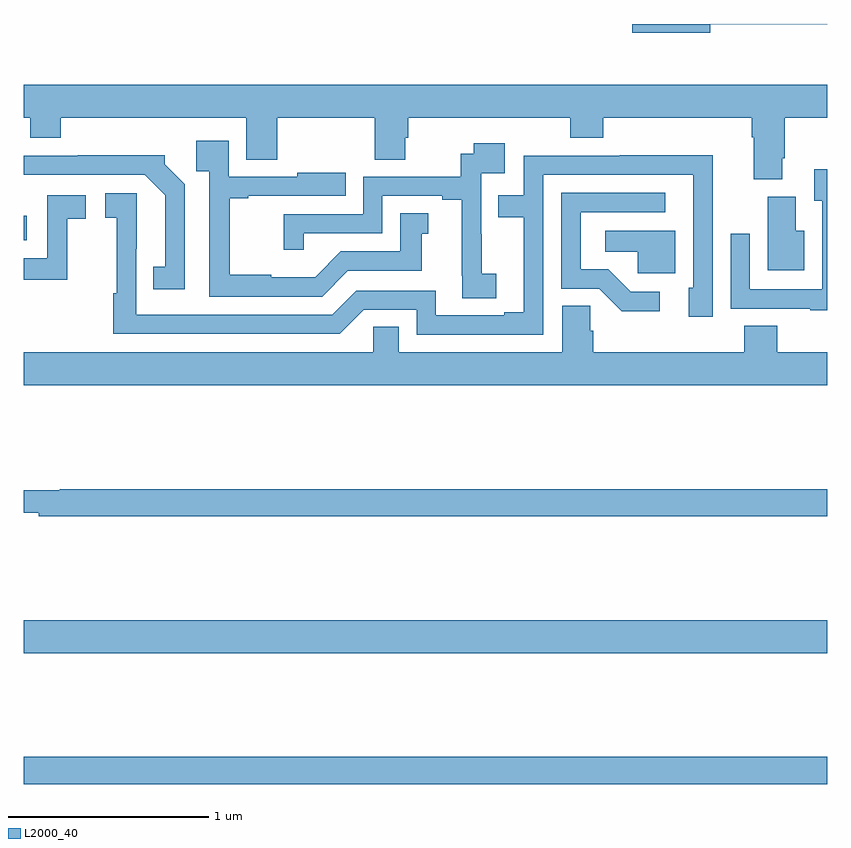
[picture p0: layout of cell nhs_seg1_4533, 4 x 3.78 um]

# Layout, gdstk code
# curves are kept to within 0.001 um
import gdstk
lib = gdstk.Library(unit=1e-6, precision=1e-09)
def R(c, l, rs):  # rectangles x0, y0, x1, y1
    for r in rs: c.add(gdstk.rectangle(r[:2], r[2:], *l))
def P(c, l, *ps):  # polygons
    for p in ps: c.add(gdstk.Polygon(p, *l))
L2000_40 = (2000, 40)

nhs_seg1_4533 = lib.new_cell('nhs_seg1_4533')
R(nhs_seg1_4533, L2000_40, [(357,548.416,361,548.552), (357,549.068,361,549.232), (357,551.123,357.016,551.245)])
P(nhs_seg1_4533, L2000_40, [(360.418,552.198),(361,552.198),(361,552.199),(360.03,552.199),(360.03,552.155),(360.418,552.155)],
  [(357,551.732),(357.032,551.732),(357.032,551.633),(357.185,551.633),(357.185,551.732),(358.109,551.732),(358.109,551.524),(358.262,551.524),(358.262,551.732),(358.748,551.732),(358.748,551.524),(358.9,551.524),(358.9,551.634),(358.913,551.634),(358.913,551.732),(359.72,551.732),(359.72,551.633),(359.885,551.633),(359.885,551.732),(360.623,551.732),(360.623,551.636),(360.635,551.636),(360.635,551.425),(360.775,551.425),(360.775,551.53),(360.788,551.53),(360.788,551.732),(361,551.732),(361,551.896),(357,551.896)],
  [(358.614,550.971),(358.981,550.971),(358.981,551.155),(359.014,551.155),(359.014,551.258),(358.874,551.258),(358.874,551.067),(358.578,551.067),(358.45,550.939),(358.232,550.939),(358.232,550.951),(358.025,550.951),(358.025,551.331),(358.117,551.331),(358.117,551.343),(358.604,551.343),(358.604,551.458),(358.361,551.458),(358.361,551.439),(358.02,551.439),(358.02,551.617),(357.859,551.617),(357.859,551.465),(357.924,551.465),(357.924,550.842),(358.485,550.842)],
  [(359.353,550.956),(359.279,550.956),(359.279,551.153),(359.277,551.153),(359.277,551.457),(359.395,551.457),(359.395,551.605),(359.239,551.605),(359.239,551.553),(359.176,551.553),(359.176,551.439),(358.689,551.439),(358.689,551.253),(358.294,551.253),(358.294,551.076),(358.395,551.076),(358.395,551.157),(358.785,551.157),(358.785,551.343),(359.084,551.343),(359.084,551.323),(359.18,551.323),(359.18,550.945),(359.182,550.945),(359.182,550.834),(359.353,550.834)],
  [(359.586,551.448),(360.333,551.448),(360.333,550.887),(360.311,550.887),(360.311,550.743),(360.429,550.743),(360.429,551.242),(360.431,551.242),(360.431,551.546),(359.968,551.546),(359.968,551.544),(359.49,551.544),(359.49,551.346),(359.362,551.346),(359.362,551.238),(359.489,551.238),(359.489,550.764),(359.393,550.764),(359.393,550.749),(359.052,550.749),(359.052,550.872),(358.656,550.872),(358.536,550.752),(357.561,550.752),(357.562,551.356),(357.405,551.356),(357.405,551.235),(357.463,551.235),(357.463,550.859),(357.445,550.859),(357.445,550.656),(358.572,550.656),(358.692,550.776),(358.956,550.776),(358.956,550.653),(359.586,550.653)],
  [(357.801,551.402),(357.702,551.501),(357.702,551.546),(357.268,551.546),(357.268,551.544),(357,551.544),(357,551.448),(357.603,551.448),(357.704,551.347),(357.704,550.991),(357.646,550.991),(357.646,550.878),(357.801,550.878)],
  [(361,551.476),(360.935,551.476),(360.935,551.32),(360.975,551.32),(360.975,550.878),(360.615,550.878),(360.615,551.155),(360.519,551.155),(360.519,550.782),(360.915,550.782),(360.915,550.775),(361,550.775)],
  [(360.166,550.866),(360.021,550.866),(359.91,550.977),(359.772,550.977),(359.772,551.262),(360.193,551.262),(360.193,551.358),(359.676,551.358),(359.676,550.881),(359.865,550.881),(359.978,550.769),(360.166,550.769)],
  [(357.216,551.23),(357.31,551.23),(357.31,551.346),(357.117,551.346),(357.117,551.034),(357,551.034),(357,550.926),(357.216,550.926)],
  [(360.886,551.17),(360.844,551.17),(360.844,551.34),(360.704,551.34),(360.704,550.973),(360.886,550.973)],
  [(360.244,551.17),(359.895,551.17),(359.895,551.066),(360.057,551.066),(360.057,550.959),(360.244,550.959)],
  [(361,550.564),(360.752,550.564),(360.752,550.697),(360.587,550.697),(360.587,550.564),(359.834,550.564),(359.834,550.673),(359.82,550.673),(359.82,550.796),(359.681,550.796),(359.681,550.564),(358.867,550.564),(358.867,550.691),(358.74,550.691),(358.74,550.564),(357,550.564),(357,550.4),(361,550.4)],
  [(361,549.884),(357.179,549.884),(357.179,549.877),(357,549.877),(357,549.767),(357.076,549.767),(357.076,549.748),(361,549.748)])

lib.write_gds('nhs_seg1_4533.gds')
